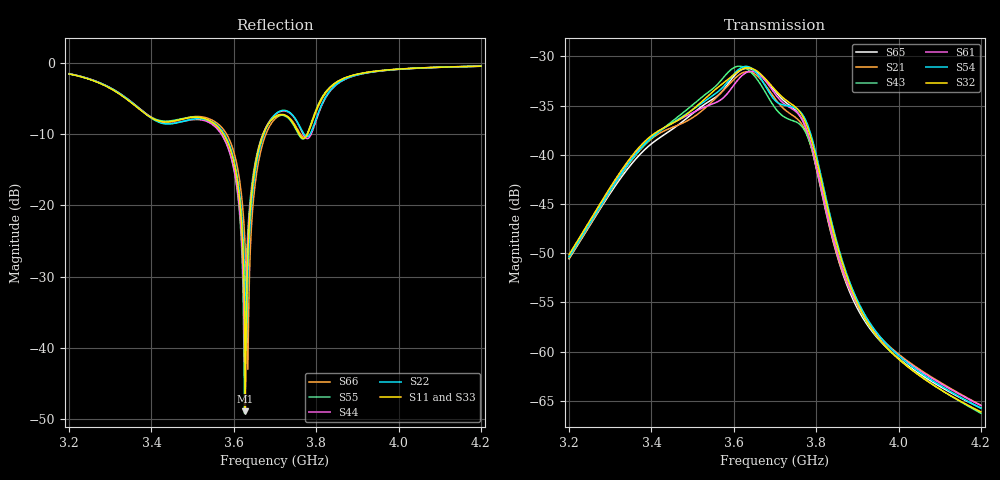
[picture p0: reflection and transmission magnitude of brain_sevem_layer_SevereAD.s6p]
! Touchstone file exported from HFSS 2024.2.0
!  File:  D:/Jatin/new.aedt
!  Generated:  10:47:51 PM Sep 26, 2026
!  Design:  SevereAD
!  Project:  new
!  Setup:  Setup1
!  Solution:  Sweep
! Variables:
!  $L = 85mm
!  $W = 35mm
!  H = 1.575mm
!  L = 42mm
!  W = 35mm
!  Wb = 6mm
!  a = 3.5mm
!  ant_dist = 115mm
!  ant_gap = 3mm
!  b = 5mm
!  c = 5mm
!  d = 2mm
!  g1 = 2mm
!  g2 = 2mm
!  g3 = 1mm
!  g4 = 2mm
!  gap = 10mm
!  r1 = 3.5mm
!  r2 = 6mm
!  r_brain = 95mm
!  r_brain_ad = 61.68mm
!  r_csf = 95.5mm
!  r_csf_expanded = 64.6mm
!  r_csf_inner = 61.68mm
!  r_csf_outer = 83.5mm
!  r_fat = 87.5mm
!  r_gray = 70.55mm
!  r_gray_severe = 62.25mm
!  r_hippo_severe = 7.5mm
!  r_skin = 88mm
!  r_skull = 86.5mm
!  r_white = 17.5mm
!  r_white_severe = 57mm
!  slot_distance = 15mm
!  wc = 12mm
!  y1 = 15mm
!  y2 = 5mm
!  y4 = 11mm
!  z_ebg = -94.575mm
! Terminal data exported
! Port[1] = FEED_3_T4
! Port[2] = FEED_3_T3
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# GHz S MA R 50.000000
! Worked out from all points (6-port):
!   501 points, 3.2 GHz to 4.2 GHz, reference 50 ohm
!   strongest paths, dB at 3.2 GHz, 3.45 GHz, 3.7 GHz, 3.95 GHz, 4.2 GHz:
!     S32: -50.1, -36.8, -33.4, -58.6, -66.1
!     S54: -50.3, -36.8, -34.5, -58.2, -65.7
!     S61: -50.3, -36.8, -33.8, -58.4, -65.5
!     S43: -50.4, -36.6, -35.2, -58.6, -66.3
!     S21: -50.5, -37.2, -34.3, -58.3, -65.5
!     S65: -50.6, -37.4, -33.6, -58.7, -65.7
!   lowest |S11| = -48.9 dB at 3.628 GHz (marker M1), VSWR 1.01, Z = 50 + j0.359 ohm
!   |S11| at or under -10 dB: 3.575 GHz to 3.671 GHz (96.79 MHz wide, 2.67 % of centre); 3.759 GHz to 3.778 GHz (19.38 MHz wide, 0.514 % of centre)
